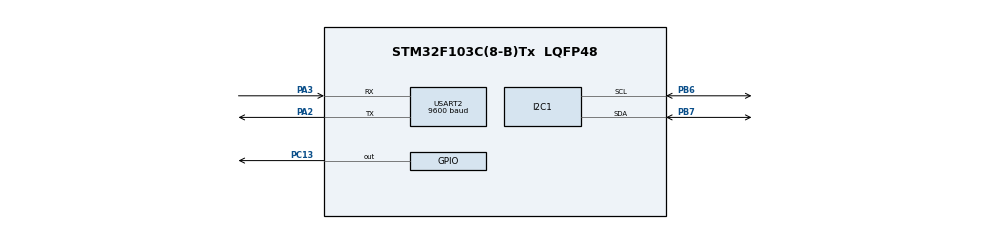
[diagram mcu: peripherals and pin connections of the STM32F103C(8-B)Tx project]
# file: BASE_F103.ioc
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FREERTOS.Tasks01=defaultTask,0,128,StartDefaultTask,Default,NULL,Dynamic,NULL,NULL;Task1,-3,128,task1_handler,Default,NULL,Dynamic,NULL,NULL
FREERTOS.configUSE_NEWLIB_REENTRANT=1
I2C1.I2C_Mode=I2C_Fast
Mcu.Family=STM32F1
Mcu.Name=STM32F103C(8-B)Tx
Mcu.Package=LQFP48
NVIC.PriorityGroup=NVIC_PRIORITYGROUP_4
NVIC.TIM4_IRQn=true\:15\:0\:false\:false\:true\:false\:false\:true\:true
NVIC.TimeBase=TIM4_IRQn
NVIC.TimeBaseIP=TIM4
PA2.Mode=Asynchronous
PA2.Signal=USART2_TX
PA3.Mode=Asynchronous
PA3.Signal=USART2_RX
PB6.Mode=I2C
PB6.Signal=I2C1_SCL
PB7.Mode=I2C
PB7.Signal=I2C1_SDA
PC13-TAMPER-RTC.Signal=GPIO_Output
ProjectManager.HeapSize=0x200
ProjectManager.StackSize=0x400
ProjectManager.TargetToolchain=STM32CubeIDE
RCC.APB1Freq_Value=8000000
RCC.APB2Freq_Value=8000000
USART2.BaudRate=9600
USART2.VirtualMode=VM_ASYNC
VP_FREERTOS_VS_CMSIS_V1.Mode=CMSIS_V1
VP_SYS_VS_ND.Mode=No_Debug
VP_SYS_VS_tim4.Mode=TIM4
board=custom

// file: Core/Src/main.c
/* USER CODE BEGIN Header */
/**
  ******************************************************************************
  * @file           : main.c
  * @brief          : Main program body
  ******************************************************************************
  * @attention
  *
  * Copyright (c) 2023 STMicroelectronics.
  * All rights reserved.
  *
  * This software is licensed under terms that can be found in the LICENSE file
  * in the root directory of this software component.
  * If no LICENSE file comes with this software, it is provided AS-IS.
  *
  ******************************************************************************
  */
/* USER CODE END Header */
#include "main.h"
#include "cmsis_os.h"

/* USER CODE BEGIN Includes */
#include <stdio.h>
#include "FreeRTOS.h"
#include "task.h"

#include "fonts.h"
#include "ssd1306.h"

/* USER CODE END Includes */

I2C_HandleTypeDef hi2c1;

UART_HandleTypeDef huart2;

osThreadId defaultTaskHandle;
osThreadId Task1Handle;

void SystemClock_Config(void);
static void MX_GPIO_Init(void);
static void MX_USART2_UART_Init(void);
static void MX_I2C1_Init(void);
void StartDefaultTask(void const * argument);
void task1_handler(void const * argument);

/* USER CODE BEGIN PFP */
static void task1_UART(void * parameters);
static void task2_UART(void * parameters);
static void task_LED(void * parameters);
#define PUTCHAR_PROTOTYPE int __io_putchar(int ch)

/* USER CODE END PFP */

int main(void)
{
  /* USER CODE BEGIN 1 */
	TaskHandle_t task1_UART_hndl;
	TaskHandle_t task2_UART_hndl;
	TaskHandle_t task_LED_XD;

	BaseType_t taskCreationStatus;

  /* USER CODE END 1 */

  /* MCU Configuration--------------------------------------------------------*/

  /* Reset of all peripherals, Initializes the Flash interface and the Systick. */
  HAL_Init();

  /* Configure the system clock */
  SystemClock_Config();

  /* Initialize all configured peripherals */
  MX_GPIO_Init();
  MX_USART2_UART_Init();
  MX_I2C1_Init();
  /* USER CODE BEGIN 2 */

	SSD1306_Init();
	char snum[5];

	SSD1306_GotoXY (0,0);
	SSD1306_Puts ("MOR Y", &Font_11x18, SSD1306_COLOR_WHITE);
	SSD1306_GotoXY (0, 20);
	SSD1306_Puts ("YO XD", &Font_11x18, SSD1306_COLOR_WHITE);
	SSD1306_UpdateScreen();
	HAL_Delay (1000);

	SSD1306_ScrollRight(0,7);
	HAL_Delay(3000);
	SSD1306_ScrollLeft(0,7);
	HAL_Delay(3000);
	SSD1306_Stopscroll();
//	SSD1306_Clear();
//	SSD1306_GotoXY (35,0);
//	SSD1306_Puts ("SCORE", &Font_7x10, 1);

  /* USER CODE END 2 */

  /* Create the thread(s) */
  /* definition and creation of defaultTask */
//  osThreadDef(defaultTask, StartDefaultTask, osPriorityNormal, 0, 128);
//  defaultTaskHandle = osThreadCreate(osThread(defaultTask), NULL);

  /* definition and creation of Task1 */
//  osThreadDef(Task1, task1_handler, osPriorityIdle, 0, 128);
//  Task1Handle = osThreadCreate(osThread(Task1), NULL);

  /* USER CODE BEGIN RTOS_THREADS */
    taskCreationStatus = xTaskCreate(task1_UART, "Task-1", 200, "Hello World task 1", 2, &task1_UART_hndl);

    configASSERT(taskCreationStatus == pdPASS);

    taskCreationStatus = xTaskCreate(task2_UART, "Task-2", 200, "Hello World task 2", 2, &task2_UART_hndl);

    configASSERT(taskCreationStatus == pdPASS);

    taskCreationStatus = xTaskCreate(task_LED, "Task-LED", 200, "LED Task", 3, &task_LED_XD);

    configASSERT(taskCreationStatus == pdPASS);
  /* USER CODE END RTOS_THREADS */

  /* Start scheduler */
  vTaskStartScheduler();
  /* We should never get here as control is now taken by the scheduler */
  /* Infinite loop */
  while (1)
  {

  }
}

void SystemClock_Config(void)
{
  RCC_OscInitTypeDef RCC_OscInitStruct = {0};
  RCC_ClkInitTypeDef RCC_ClkInitStruct = {0};

  /** Initializes the RCC Oscillators according to the specified parameters
  * in the RCC_OscInitTypeDef structure.
  */
  RCC_OscInitStruct.OscillatorType = RCC_OSCILLATORTYPE_HSI;
  RCC_OscInitStruct.HSIState = RCC_HSI_ON;
  RCC_OscInitStruct.HSICalibrationValue = RCC_HSICALIBRATION_DEFAULT;
  RCC_OscInitStruct.PLL.PLLState = RCC_PLL_NONE;
  if (HAL_RCC_OscConfig(&RCC_OscInitStruct) != HAL_OK)
  {
    Error_Handler();
  }

  /** Initializes the CPU, AHB and APB buses clocks
  */
  RCC_ClkInitStruct.ClockType = RCC_CLOCKTYPE_HCLK|RCC_CLOCKTYPE_SYSCLK
                              |RCC_CLOCKTYPE_PCLK1|RCC_CLOCKTYPE_PCLK2;
  RCC_ClkInitStruct.SYSCLKSource = RCC_SYSCLKSOURCE_HSI;
  RCC_ClkInitStruct.AHBCLKDivider = RCC_SYSCLK_DIV1;
  RCC_ClkInitStruct.APB1CLKDivider = RCC_HCLK_DIV1;
  RCC_ClkInitStruct.APB2CLKDivider = RCC_HCLK_DIV1;

  if (HAL_RCC_ClockConfig(&RCC_ClkInitStruct, FLASH_LATENCY_0) != HAL_OK)
  {
    Error_Handler();
  }
}

static void MX_I2C1_Init(void)
{

  hi2c1.Instance = I2C1;
  hi2c1.Init.ClockSpeed = 400000;
  hi2c1.Init.DutyCycle = I2C_DUTYCYCLE_2;
  hi2c1.Init.OwnAddress1 = 0;
  hi2c1.Init.AddressingMode = I2C_ADDRESSINGMODE_7BIT;
  hi2c1.Init.DualAddressMode = I2C_DUALADDRESS_DISABLE;
  hi2c1.Init.OwnAddress2 = 0;
  hi2c1.Init.GeneralCallMode = I2C_GENERALCALL_DISABLE;
  hi2c1.Init.NoStretchMode = I2C_NOSTRETCH_DISABLE;
  if (HAL_I2C_Init(&hi2c1) != HAL_OK)
  {
    Error_Handler();
  }

}

static void MX_USART2_UART_Init(void)
{

  huart2.Instance = USART2;
  huart2.Init.BaudRate = 9600;
  huart2.Init.WordLength = UART_WORDLENGTH_8B;
  huart2.Init.StopBits = UART_STOPBITS_1;
  huart2.Init.Parity = UART_PARITY_NONE;
  huart2.Init.Mode = UART_MODE_TX_RX;
  huart2.Init.HwFlowCtl = UART_HWCONTROL_NONE;
  huart2.Init.OverSampling = UART_OVERSAMPLING_16;
  if (HAL_UART_Init(&huart2) != HAL_OK)
  {
    Error_Handler();
  }

}

static void MX_GPIO_Init(void)
{
  GPIO_InitTypeDef GPIO_InitStruct = {0};

  /* GPIO Ports Clock Enable */
  __HAL_RCC_GPIOC_CLK_ENABLE();
  __HAL_RCC_GPIOA_CLK_ENABLE();
  __HAL_RCC_GPIOB_CLK_ENABLE();

  /*Configure GPIO pin Output Level */
  HAL_GPIO_WritePin(GPIOC, GPIO_PIN_13, GPIO_PIN_RESET);

  /*Configure GPIO pin : PC13 */
  GPIO_InitStruct.Pin = GPIO_PIN_13;
  GPIO_InitStruct.Mode = GPIO_MODE_OUTPUT_PP;
  GPIO_InitStruct.Pull = GPIO_NOPULL;
  GPIO_InitStruct.Speed = GPIO_SPEED_FREQ_LOW;
  HAL_GPIO_Init(GPIOC, &GPIO_InitStruct);

}

/* USER CODE BEGIN 4 */

static void task1_UART(void * parameters)
{
	while(1)
	{
		printf("%s\n", (char*)parameters);
		vTaskDelay(100);
	}
}

static void task2_UART(void * parameters)
{
	while(1)
	{
		printf("%s\n", (char*)parameters);
		vTaskDelay(100);
	}

}

static void task_LED(void * parameters)
{

	printf("Hoal");
	while(1)
	{
		HAL_GPIO_WritePin(GPIOC, GPIO_PIN_13, GPIO_PIN_RESET);
		vTaskDelay(500);
		HAL_GPIO_WritePin(GPIOC, GPIO_PIN_13, GPIO_PIN_SET);
		vTaskDelay(500);
	}

}

/**
  * @brief  Retargets the C library printf function to the USART.
  * @param  None
  * @retval None
  */
PUTCHAR_PROTOTYPE
{
  /* Place your implementation of fputc here */
  /* e.g. write a character to the USART1 and Loop until the end of transmission */
  HAL_UART_Transmit(&huart2, (uint8_t *)&ch, 1, 0xFFFF);

  return ch;
}

/* USER CODE END 4 */

void StartDefaultTask(void const * argument)
{
  for(;;)
  {
    osDelay(1);
  }
}

void task1_handler(void const * argument)
{
  /* USER CODE BEGIN task1_handler */
//  /* Infinite loop */
//  for(;;)
//  {
//    osDelay(1);
//    HAL_GPIO_WritePin(GPIOC, GPIO_PIN_13, GPIO_PIN_RESET);
//    osDelay(500);
//	HAL_GPIO_WritePin(GPIOC, GPIO_PIN_13, GPIO_PIN_SET);
//	osDelay(500);
//  }
  /* USER CODE END task1_handler */
}

void HAL_TIM_PeriodElapsedCallback(TIM_HandleTypeDef *htim)
{
  if (htim->Instance == TIM4) {
    HAL_IncTick();
  }
}

void Error_Handler(void)
{
  __disable_irq();
  while (1)
  {
  }
}
